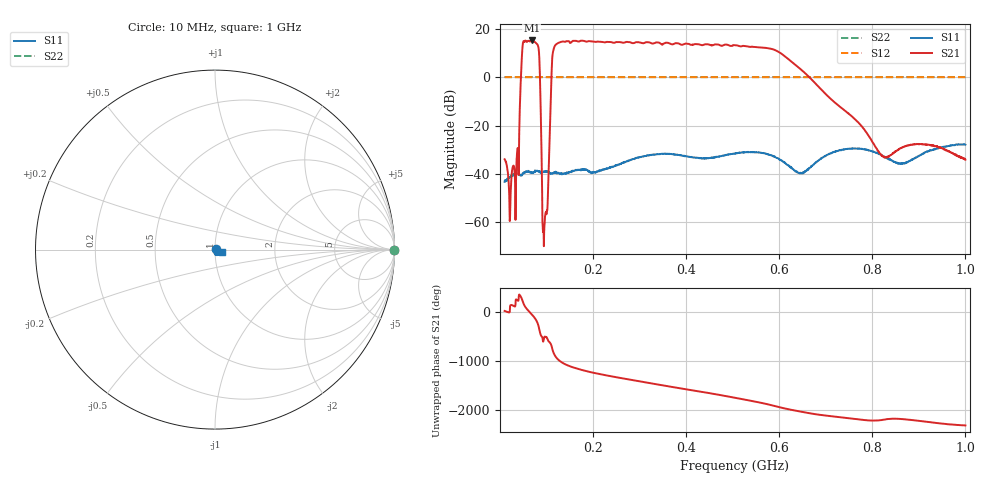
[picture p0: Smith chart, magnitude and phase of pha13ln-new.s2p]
! Anritsu VNA Master:  Model: MS2024B
! SN:  2417009
! /card0/usr/pha13ln-new.s2p
! Existing Calibration Information:
! TYPE:  Current Settings,  Active Cal Settings
! TIME:  10/08/2026 03:01:01 AM,  10/08/2026 02:19:59 AM
! INTERNAL TEMP:  46.5 C,  45.5 C
! # POINTS:  1609,  1609
! START FREQ:  10.000 MHz,  10.000 MHz
! STOP FREQ:  1.000 GHz,  1.000 GHz
! SOURCE POWER:  Default,  Default
! IFBW:  1 kHz,  1 kHz
! AVG FACTOR:  1 ,  1
! REF PLANE 1:  0 mm,  0 mm
! REF PLANE 2:  0 mm,  0 mm
! CAL TYPE:  1P2P S11,S21,  1P2P S11,S21
! CAL METHOD:  SOLT,  SOLT
! CAL LINE TYPE:  Coax,  Coax
! DUT PORT 1:  N-Conn(M),  N-Conn(M)
! DUT PORT 2:  N-Conn(M),  N-Conn(M)
! CAL STATUS:  OK: Accuracy High,  --
# GHZ S DB R 50.0
! FREQ.GHZ  S11DB  S11A  S21DB  S21A  S12DB  S12A  S22DB  S22A
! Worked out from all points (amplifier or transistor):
!   1609 points, 10 MHz to 1 GHz, reference 50 ohm
!   highest |S21| = 15.2 dB at 68.49 MHz (marker M1)
!   |S21| within 3 dB of that: 116.3 MHz to 565.9 MHz (449.6 MHz wide, 132 % of centre)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
!   unconditionally stable (mu >= 1): nowhere
!   at 175 MHz: K = 2.81, MSG = 7.5 dB, |S12| = 0.0 dB
!   at 505 MHz: K = 2.28, MSG = 6.6 dB, |S12| = 0.0 dB
!   at 1 GHz: K = 0.04, MSG = -17.1 dB, |S12| = 0.0 dB
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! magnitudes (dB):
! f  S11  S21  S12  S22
! 10 MHz  -43.3  -33.9  0.0  0.0
! 20.47 MHz  -41.5  -53.6  0.0  0.0
! 35.86 MHz  -39.9  -33.8  0.0  0.0
! 50.02 MHz  -39.8  14.6  0.0  0.0
! 68.49 MHz  -39.3  15.2  0.0  0.0
! 82.65 MHz  -39.0  12.3  0.0  0.0
! 85.73 MHz  -38.8  1.4  0.0  0.0
! 91.88 MHz  -39.4  -61.5  0.0  0.0
! 96.19 MHz  -39.0  -59.9  0.0  0.0
! 102.4 MHz  -39.2  -52.8  0.0  0.0
! 111 MHz  -39.8  1.9  0.0  0.0
! 116.5 MHz  -39.3  12.3  0.0  0.0
! 175 MHz  -38.2  15.0  0.0  0.0
! 340 MHz  -31.8  14.3  0.0  0.0
! 505 MHz  -31.5  13.2  0.0  0.0
! 592.4 MHz  -33.2  11.0  0.0  0.0
! 644.1 MHz  -39.7  3.6  0.0  0.0
! 670 MHz  -36.6  -1.1  0.0  0.0
! 747 MHz  -29.7  -14.7  0.0  0.0
! 835 MHz  -34.0  -32.8  0.0  0.0
! 903.3 MHz  -32.3  -27.6  0.0  0.0
! 1 GHz  -27.9  -34.1  0.0  0.0
